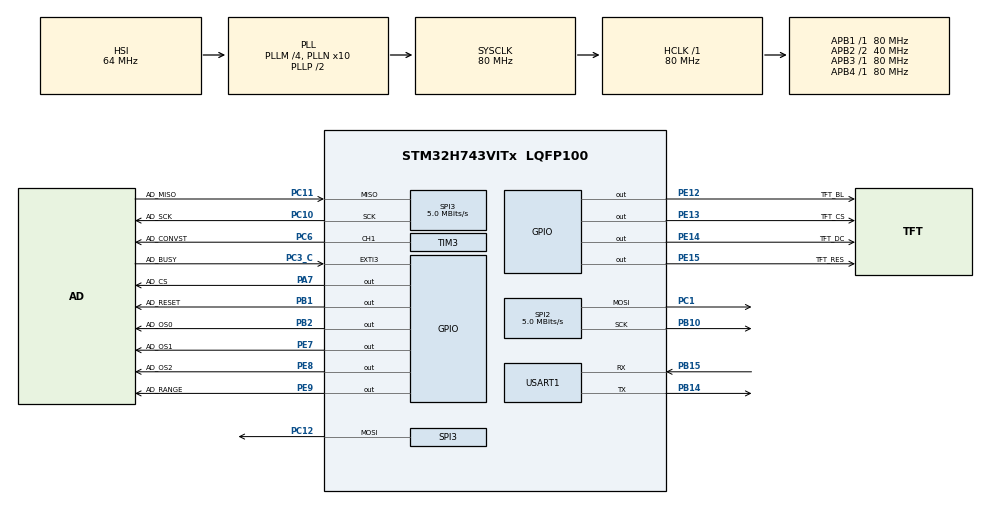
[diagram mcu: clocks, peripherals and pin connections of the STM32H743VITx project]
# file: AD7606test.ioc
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CORTEX_M7.default_mode_Activation=1
Mcu.Family=STM32H7
Mcu.Name=STM32H743VITx
Mcu.Package=LQFP100
NVIC.EXTI3_IRQn=true\:0\:0\:false\:false\:true\:true\:true\:true
NVIC.PriorityGroup=NVIC_PRIORITYGROUP_4
NVIC.TIM4_IRQn=true\:0\:0\:false\:false\:true\:true\:true\:true
PA13\ (JTMS/SWDIO).Mode=Serial_Wire
PA13\ (JTMS/SWDIO).Signal=DEBUG_JTMS-SWDIO
PA14\ (JTCK/SWCLK).Mode=Serial_Wire
PA14\ (JTCK/SWCLK).Signal=DEBUG_JTCK-SWCLK
PA7.GPIO_Label=AD_CS
PA7.GPIO_PuPd=GPIO_PULLUP
PA7.GPIO_Speed=GPIO_SPEED_FREQ_VERY_HIGH
PA7.Signal=GPIO_Output
PB1.GPIO_Label=AD_RESET
PB1.GPIO_PuPd=GPIO_PULLUP
PB1.GPIO_Speed=GPIO_SPEED_FREQ_VERY_HIGH
PB1.Signal=GPIO_Output
PB10.Mode=TX_Only_Simplex_Unidirect_Master
PB10.Signal=SPI2_SCK
PB14.Mode=Asynchronous
PB14.Signal=USART1_TX
PB15.Mode=Asynchronous
PB15.Signal=USART1_RX
PB2.GPIO_Label=AD_OS0
PB2.GPIO_PuPd=GPIO_PULLDOWN
PB2.GPIO_Speed=GPIO_SPEED_FREQ_LOW
PB2.Signal=GPIO_Output
PC1.Mode=TX_Only_Simplex_Unidirect_Master
PC1.Signal=SPI2_MOSI
PC10.GPIO_Label=AD_SCK
PC10.Mode=Full_Duplex_Master
PC10.Signal=SPI3_SCK
PC11.GPIO_Label=AD_MISO
PC11.Mode=Full_Duplex_Master
PC11.Signal=SPI3_MISO
PC12.Mode=Full_Duplex_Master
PC12.Signal=SPI3_MOSI
PC3_C.GPIO_Label=AD_BUSY
PC3_C.Signal=GPXTI3
PC6.GPIO_Label=AD_CONVST
PC6.Signal=S_TIM3_CH1
PE12.GPIO_Label=TFT_BL
PE12.Signal=GPIO_Output
PE13.GPIO_Label=TFT_CS
PE13.Signal=GPIO_Output
PE14.GPIO_Label=TFT_DC
PE14.Signal=GPIO_Output
PE15.GPIO_Label=TFT_RES
PE15.Signal=GPIO_Output
PE7.GPIO_Label=AD_OS1
PE7.GPIO_PuPd=GPIO_PULLDOWN
PE7.GPIO_Speed=GPIO_SPEED_FREQ_LOW
PE7.Signal=GPIO_Output
PE8.GPIO_Label=AD_OS2
PE8.GPIO_PuPd=GPIO_PULLDOWN
PE8.GPIO_Speed=GPIO_SPEED_FREQ_LOW
PE8.Signal=GPIO_Output
PE9.GPIO_Label=AD_RANGE
PE9.GPIO_ModeDefaultOutputPP=GPIO_MODE_OUTPUT_PP
PE9.GPIO_PuPd=GPIO_PULLUP
PE9.Signal=GPIO_Output
PH0-OSC_IN\ (PH0).Mode=HSE-External-Clock-Source
PH0-OSC_IN\ (PH0).Signal=RCC_OSC_IN
ProjectManager.HeapSize=0x200
ProjectManager.StackSize=0x400
ProjectManager.TargetToolchain=STM32CubeIDE
RCC.ADCFreq_Value=129000000
RCC.APB1Freq_Value=80000000
RCC.APB2Freq_Value=40000000
RCC.APB3Freq_Value=80000000
RCC.APB4Freq_Value=80000000
RCC.CortexFreq_Value=80000000
RCC.D2PPRE2=RCC_APB2_DIV2
RCC.DIVM1=4
RCC.DIVN1=10
RCC.HCLKFreq_Value=80000000
RCC.PLL2FRACN=0
RCC.PLL3FRACN=0
RCC.PLLFRACN=0
RCC.SYSCLKFreq_VALUE=80000000
RCC.SYSCLKSource=RCC_SYSCLKSOURCE_PLLCLK
RCC.USBFreq_Value=80000000
SH.S_TIM3_CH1.0=TIM3_CH1,PWM Generation1 CH1
SPI2.BaudRatePrescaler=SPI_BAUDRATEPRESCALER_16
SPI2.CalculateBaudRate=5.0 MBits/s
SPI2.DataSize=SPI_DATASIZE_8BIT
SPI2.Direction=SPI_DIRECTION_2LINES_TXONLY
SPI2.Mode=SPI_MODE_MASTER
SPI2.VirtualType=VM_MASTER
SPI3.BaudRatePrescaler=SPI_BAUDRATEPRESCALER_16
SPI3.CLKPolarity=SPI_POLARITY_HIGH
SPI3.CalculateBaudRate=5.0 MBits/s
SPI3.DataSize=SPI_DATASIZE_16BIT
SPI3.Direction=SPI_DIRECTION_2LINES
SPI3.Mode=SPI_MODE_MASTER
SPI3.VirtualType=VM_MASTER
TIM3.Channel-PWM\ Generation1\ CH1=TIM_CHANNEL_1
TIM3.Period=100-1
TIM3.Prescaler=80-1
TIM3.Pulse-PWM\ Generation1\ CH1=99-1
TIM4.Channel-Output\ Compare1\ No\ Output=TIM_CHANNEL_1
TIM4.TIM_MasterOutputTrigger=TIM_TRGO_UPDATE
USART1.VirtualMode-Asynchronous=VM_ASYNC
VP_MEMORYMAP_VS_MEMORYMAP.Mode=CurAppReg
VP_TIM4_VS_no_output1.Mode=Output Compare1 No Output
board=custom

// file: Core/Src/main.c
/* USER CODE BEGIN Header */
/**
  ******************************************************************************
  * @file           : main.c
  * @brief          : Main program body
  ******************************************************************************
  * @attention
  *
  * Copyright (c) 2025 STMicroelectronics.
  * All rights reserved.
  *
  * This software is licensed under terms that can be found in the LICENSE file
  * in the root directory of this software component.
  * If no LICENSE file comes with this software, it is provided AS-IS.
  *
  ******************************************************************************
  */
/* USER CODE END Header */
#include "main.h"
#include "memorymap.h"
#include "spi.h"
#include "tim.h"
#include "usart.h"
#include "gpio.h"

/* USER CODE BEGIN Includes */
#include <stdio.h>
#include <stdlib.h>
#include <string.h>

#include "myAD7606.h"
#include "TFTh/TFT_CAD.h"
#include "TFTh/TFT_io.h"
#include "TFTh/TFT_config.h"
#include "TFTh/TFT_text.h"
#include "TFTh/TFT_init.h"
/* USER CODE END Includes */

/* USER CODE BEGIN PTD */
TFT_HandleTypeDef htft1 ;
/* USER CODE END PTD */

/* USER CODE BEGIN PM */
#define SAMPLING_POINTS  1024
#define SAMPLING_CHANNEL 8
/* USER CODE END PM */

/* USER CODE BEGIN PV */
uint16_t ad7606Buff[SAMPLING_POINTS][SAMPLING_CHANNEL] ;
volatile uint8_t ad7606SamplingDoneFlag = 0;

uint16_t nums = 0;
int cnt = 0;

// 显示字符串缓冲区
char str1[50];
char str2[50];
char str3[50];
char str4[50];
char str5[50];
char str6[50];
char str7[50];
char str8[50];
/* USER CODE END PV */

void SystemClock_Config(void);
static void MPU_Config(void);
/* USER CODE BEGIN PFP */
void TFT_Demo_Init()
{
  // 初始化第一个TFT屏幕
  TFT_Init_Instance(&htft1, &hspi2, TFT_CS_GPIO_Port, TFT_CS_Pin);

  TFT_Config_Pins(&htft1, TFT_DC_GPIO_Port, TFT_DC_Pin,
                  TFT_RES_GPIO_Port, TFT_RES_Pin,
                  TFT_BL_GPIO_Port, TFT_BL_Pin);
  TFT_Config_Display(&htft1, 3, 0, 30); // 设置方向、X/Y偏移
  TFT_IO_Init(&htft1); // 初始化IO层
  TFT_Init_ST7789v3(&htft1); // ST7735S屏幕初始化
  htft1.buffer_size = 1024; // 设置缓冲区大小
}

/* USER CODE END PFP */

int main(void)
{

  /* MPU Configuration--------------------------------------------------------*/
  MPU_Config();

  /* MCU Configuration--------------------------------------------------------*/

  /* Reset of all peripherals, Initializes the Flash interface and the Systick. */
  HAL_Init();

  /* Configure the system clock */
  SystemClock_Config();

  /* Initialize all configured peripherals */
  MX_GPIO_Init();
  MX_USART1_UART_Init();
  MX_SPI2_Init();
  MX_TIM4_Init();
  MX_TIM3_Init();
  MX_SPI3_Init();
  /* USER CODE BEGIN 2 */

  // 初始化TFT显示
  TFT_Demo_Init();
  TFT_Fill_Area(&htft1, 0, 0, 320, 240, BLACK);

  uint8_t  adcRunTimes = 0;
  uint16_t adcValue = 0;

  // 初始化AD7606
  AD7606Init();

  // 设置过采样倍数，这里设置为4倍过采样(值为2)
 // AD7606SetOverSampling(2);

  // 设置量程为±10V
  AD7606SetRange(0);

  AD7606Start();
  /* USER CODE END 2 */

  /* Infinite loop */
  while (1)
  {

    /* USER CODE BEGIN 3 */
    if( ad7606SamplingDoneFlag )
    {
      float temp = 0;
      uint32_t rawSum = 0; // 用于累加原始数字量
      AD7606Stop();

      // 显示当前采样状态和量程信息
      sprintf(str1,"Done %d , nums %d     ",
              ad7606SamplingDoneFlag, cnt );
      TFT_Show_String(&htft1, 10, 10, str1, WHITE, BLACK, 16, 0);

      // 计算平均电压和原始数字量
      for (int i = 0 ; i < SAMPLING_POINTS ; i++)
      {
        temp = temp + AD7606ConvValue(ad7606Buff[i][0]);
        rawSum += ad7606Buff[i][0]; // 累加原始数字量
      }

      temp = temp / SAMPLING_POINTS; // 计算平均电压值
      uint32_t avgRaw = (rawSum / SAMPLING_POINTS); // 计算平均数字量

      // 显示电压值
      sprintf(str2,"Voltage: %.4f V", temp);
      TFT_Show_String(&htft1, 10, 30, (uint8_t*)str2, WHITE, BLACK, 16, 0);

      // 显示原始数字量
      sprintf(str3,"Raw: %u (0x%04X)", avgRaw, avgRaw);
      TFT_Show_String(&htft1, 10, 50, (uint8_t*)str3, WHITE, BLACK, 16, 0);

      nums = 0;
      AD7606Start();
    }
  }
  /* USER CODE END 3 */
}

void SystemClock_Config(void)
{
  RCC_OscInitTypeDef RCC_OscInitStruct = {0};
  RCC_ClkInitTypeDef RCC_ClkInitStruct = {0};

  /** Supply configuration update enable
  */
  HAL_PWREx_ConfigSupply(PWR_LDO_SUPPLY);

  /** Configure the main internal regulator output voltage
  */
  __HAL_PWR_VOLTAGESCALING_CONFIG(PWR_REGULATOR_VOLTAGE_SCALE3);

  while(!__HAL_PWR_GET_FLAG(PWR_FLAG_VOSRDY)) {}

  /** Initializes the RCC Oscillators according to the specified parameters
  * in the RCC_OscInitTypeDef structure.
  */
  RCC_OscInitStruct.OscillatorType = RCC_OSCILLATORTYPE_HSI;
  RCC_OscInitStruct.HSIState = RCC_HSI_DIV1;
  RCC_OscInitStruct.HSICalibrationValue = RCC_HSICALIBRATION_DEFAULT;
  RCC_OscInitStruct.PLL.PLLState = RCC_PLL_ON;
  RCC_OscInitStruct.PLL.PLLSource = RCC_PLLSOURCE_HSI;
  RCC_OscInitStruct.PLL.PLLM = 4;
  RCC_OscInitStruct.PLL.PLLN = 10;
  RCC_OscInitStruct.PLL.PLLP = 2;
  RCC_OscInitStruct.PLL.PLLQ = 2;
  RCC_OscInitStruct.PLL.PLLR = 2;
  RCC_OscInitStruct.PLL.PLLRGE = RCC_PLL1VCIRANGE_3;
  RCC_OscInitStruct.PLL.PLLVCOSEL = RCC_PLL1VCOMEDIUM;
  RCC_OscInitStruct.PLL.PLLFRACN = 0;
  if (HAL_RCC_OscConfig(&RCC_OscInitStruct) != HAL_OK)
  {
    Error_Handler();
  }

  /** Initializes the CPU, AHB and APB buses clocks
  */
  RCC_ClkInitStruct.ClockType = RCC_CLOCKTYPE_HCLK|RCC_CLOCKTYPE_SYSCLK
                              |RCC_CLOCKTYPE_PCLK1|RCC_CLOCKTYPE_PCLK2
                              |RCC_CLOCKTYPE_D3PCLK1|RCC_CLOCKTYPE_D1PCLK1;
  RCC_ClkInitStruct.SYSCLKSource = RCC_SYSCLKSOURCE_PLLCLK;
  RCC_ClkInitStruct.SYSCLKDivider = RCC_SYSCLK_DIV1;
  RCC_ClkInitStruct.AHBCLKDivider = RCC_HCLK_DIV1;
  RCC_ClkInitStruct.APB3CLKDivider = RCC_APB3_DIV1;
  RCC_ClkInitStruct.APB1CLKDivider = RCC_APB1_DIV1;
  RCC_ClkInitStruct.APB2CLKDivider = RCC_APB2_DIV2;
  RCC_ClkInitStruct.APB4CLKDivider = RCC_APB4_DIV1;

  if (HAL_RCC_ClockConfig(&RCC_ClkInitStruct, FLASH_LATENCY_1) != HAL_OK)
  {
    Error_Handler();
  }
}

/* USER CODE BEGIN 4 */
void HAL_GPIO_EXTI_Callback(uint16_t GPIO_Pin)
{
  if(GPIO_Pin == AD_BUSY_Pin)
    {
    //read AD7606

      if(nums < SAMPLING_POINTS){
        AD7606BusyIrqCallback(ad7606Buff[nums],SAMPLING_CHANNEL);
        nums++;
          ad7606SamplingDoneFlag = 0;
      }
      else
      {
        ad7606SamplingDoneFlag = 1;
        cnt ++ ;
      }

  }
}
/* USER CODE END 4 */

 /* MPU Configuration */

void MPU_Config(void)
{
  MPU_Region_InitTypeDef MPU_InitStruct = {0};

  /* Disables the MPU */
  HAL_MPU_Disable();

  /** Initializes and configures the Region and the memory to be protected
  */
  MPU_InitStruct.Enable = MPU_REGION_ENABLE;
  MPU_InitStruct.Number = MPU_REGION_NUMBER0;
  MPU_InitStruct.BaseAddress = 0x0;
  MPU_InitStruct.Size = MPU_REGION_SIZE_4GB;
  MPU_InitStruct.SubRegionDisable = 0x87;
  MPU_InitStruct.TypeExtField = MPU_TEX_LEVEL0;
  MPU_InitStruct.AccessPermission = MPU_REGION_NO_ACCESS;
  MPU_InitStruct.DisableExec = MPU_INSTRUCTION_ACCESS_DISABLE;
  MPU_InitStruct.IsShareable = MPU_ACCESS_SHAREABLE;
  MPU_InitStruct.IsCacheable = MPU_ACCESS_NOT_CACHEABLE;
  MPU_InitStruct.IsBufferable = MPU_ACCESS_NOT_BUFFERABLE;

  HAL_MPU_ConfigRegion(&MPU_InitStruct);
  /* Enables the MPU */
  HAL_MPU_Enable(MPU_PRIVILEGED_DEFAULT);

}

void Error_Handler(void)
{
  __disable_irq();
  while (1)
  {
  }
}
